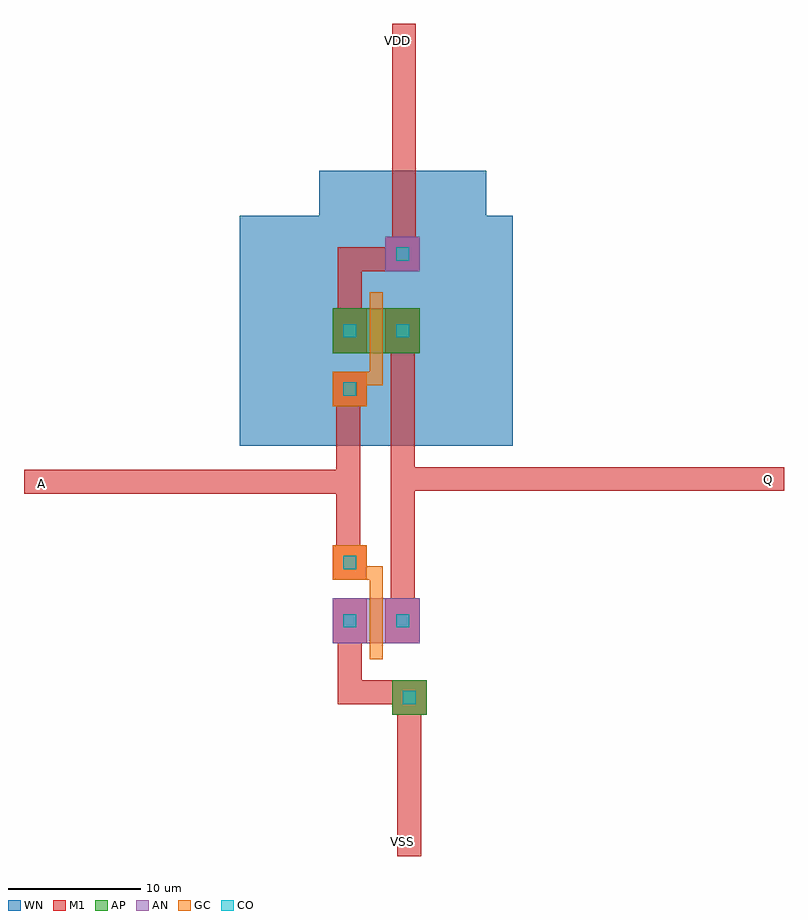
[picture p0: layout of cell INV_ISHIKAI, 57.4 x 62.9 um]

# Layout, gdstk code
import gdstk
lib = gdstk.Library(unit=1e-6, precision=1e-09)
def R(c, l, rs):  # rectangles x0, y0, x1, y1
    for r in rs: c.add(gdstk.rectangle(r[:2], r[2:], *l))
def P(c, l, *ps):  # polygons
    for p in ps: c.add(gdstk.Polygon(p, *l))
AP = (3, 1)
AN = (3, 2)
GC = (8, 1)
CO = (11, 0)
M1 = (13, 0)
WN = (140, 0)

dcont_6_1 = lib.new_cell('dcont$6$1')
R(dcont_6_1, CO, [(-0.5,-0.5,0.5,0.5)])
R(dcont_6_1, M1, [(-1.3,-1.3,1.3,1.3), (-0.5,-0.5,0.5,0.5)])

nsubcont_6_1 = lib.new_cell('nsubcont$6$1')
R(nsubcont_6_1, AN, [(-1.3,-1.3,1.3,1.3)])
R(nsubcont_6_1, CO, [(-0.5,-0.5,0.5,0.5)])
R(nsubcont_6_1, M1, [(-1.3,-1.3,1.3,1.3), (-0.5,-0.5,0.5,0.5)])
R(nsubcont_6_1, WN, [(-6.3,-6.3,6.3,6.3)])

mp_1_3 = lib.new_cell('MP$1$3')
R(mp_1_3, AP, [(0,3.6,6.6,7), (0,3.6,6.6,7)])
P(mp_1_3, GC, [(0,-0.4),(0,2.2),(2.8,2.2),(2.8,8.2),(3.8,8.2),(3.8,1.2),(2.6,1.2),(2.6,-0.4)])
R(mp_1_3, CO, [(0.8,0.4,1.8,1.4)])
R(mp_1_3, M1, [(0,-0.4,2.6,2.2), (0.8,0.4,1.8,1.4)])
R(mp_1_3, WN, [(-7,-3.4,13.6,14)])
mp_1_3.add(gdstk.FlexPath([(1.3,3.6),(1.3,7)], 2.6, ends="flush", simple_path=True, layer=13, datatype=0))  # M1
mp_1_3.add(gdstk.FlexPath([(5.3,3.6),(5.3,7)], 2.6, ends="flush", simple_path=True, layer=13, datatype=0))  # M1
mp_1_3.add(gdstk.FlexPath([(1.3,6),(1.3,9.3)], 1.8, ends="flush", simple_path=True, layer=13, datatype=0))  # M1
mp_1_3.add(gdstk.FlexPath([(5.3,1.3),(5.3,4.6)], 1.8, ends="flush", simple_path=True, layer=13, datatype=0))  # M1
mp_1_3.add(gdstk.Reference(dcont_6_1, (1.3,5.3)))
mp_1_3.add(gdstk.Reference(dcont_6_1, (5.3,5.3)))
mp_1_3.add(gdstk.Reference(nsubcont_6_1, (5.3,11.1)))

psubcont_6_1 = lib.new_cell('psubcont$6$1')
R(psubcont_6_1, AP, [(-1.3,-1.3,1.3,1.3)])
R(psubcont_6_1, CO, [(-0.5,-0.5,0.5,0.5)])
R(psubcont_6_1, M1, [(-1.3,-1.3,1.3,1.3), (-0.5,-0.5,0.5,0.5)])

mn_1_5_1 = lib.new_cell('MN$1$5$1')
R(mn_1_5_1, AN, [(0,3.6,6.6,7), (0,3.6,6.6,7)])
P(mn_1_5_1, GC, [(2.8,2.4),(2.8,8.4),(0,8.4),(0,11),(2.6,11),(2.6,9.4),(3.8,9.4),(3.8,2.4)])
R(mn_1_5_1, CO, [(0.8,9.2,1.8,10.2)])
R(mn_1_5_1, M1, [(0,8.4,2.6,11), (0.8,9.2,1.8,10.2)])
mn_1_5_1.add(gdstk.FlexPath([(1.3,3.6),(1.3,7)], 2.6, ends="flush", simple_path=True, layer=13, datatype=0))  # M1
mn_1_5_1.add(gdstk.FlexPath([(5.3,3.6),(5.3,7)], 2.6, ends="flush", simple_path=True, layer=13, datatype=0))  # M1
mn_1_5_1.add(gdstk.FlexPath([(1.3,1.3),(1.3,4.6)], 1.8, ends="flush", simple_path=True, layer=13, datatype=0))  # M1
mn_1_5_1.add(gdstk.FlexPath([(5.3,6),(5.3,9.3)], 1.8, ends="flush", simple_path=True, layer=13, datatype=0))  # M1
mn_1_5_1.add(gdstk.Reference(dcont_6_1, (1.3,5.3)))
mn_1_5_1.add(gdstk.Reference(dcont_6_1, (5.3,5.3)))
mn_1_5_1.add(gdstk.Reference(psubcont_6_1, (5.8,-0.5)))

inv_ishikai = lib.new_cell('INV_ISHIKAI')
inv_ishikai.add(gdstk.FlexPath([(5.3,-5.5),(34.1,-5.5)], 1.8, ends="flush", simple_path=True, layer=13, datatype=0))  # M1
inv_ishikai.add(gdstk.FlexPath([(1.2,1.3),(1.2,-12.2)], 1.8, ends="flush", simple_path=True, layer=13, datatype=0))  # M1
inv_ishikai.add(gdstk.FlexPath([(5.3,2.1),(5.3,-12.8)], 1.8, ends="flush", simple_path=True, layer=13, datatype=0))  # M1
inv_ishikai.add(gdstk.FlexPath([(1.3,9.4),(1.3,11.1),(6.2,11.1)], 1.8, ends="flush", simple_path=True, layer=13, datatype=0))  # M1
inv_ishikai.add(gdstk.FlexPath([(5.4,11.1),(5.4,28.9)], 1.8, ends="flush", simple_path=True, layer=13, datatype=0))  # M1
inv_ishikai.add(gdstk.FlexPath([(1.2,-5.7),(-23.3,-5.7)], 1.8, ends="flush", simple_path=True, layer=13, datatype=0))  # M1
inv_ishikai.add(gdstk.FlexPath([(1.3,-19.9),(1.3,-21.6),(5.8,-21.6)], 1.8, ends="flush", simple_path=True, layer=13, datatype=0))  # M1
inv_ishikai.add(gdstk.FlexPath([(5.8,-21.7),(5.8,-34)], 1.8, ends="flush", simple_path=True, layer=13, datatype=0))  # M1
inv_ishikai.add(gdstk.Reference(mp_1_3, (0,0.4)))
inv_ishikai.add(gdstk.Reference(mn_1_5_1, (0,-21.5)))
inv_ishikai.add(gdstk.Label('Q', (32.9,-5.5), layer=13, texttype=0))
inv_ishikai.add(gdstk.Label('A', (-22,-5.8), layer=13, texttype=0))
inv_ishikai.add(gdstk.Label('VDD', (4.9,27.6), layer=13, texttype=0))
inv_ishikai.add(gdstk.Label('VSS', (5.3,-32.9), layer=13, texttype=0))

lib.write_gds('INV_ISHIKAI.gds')
